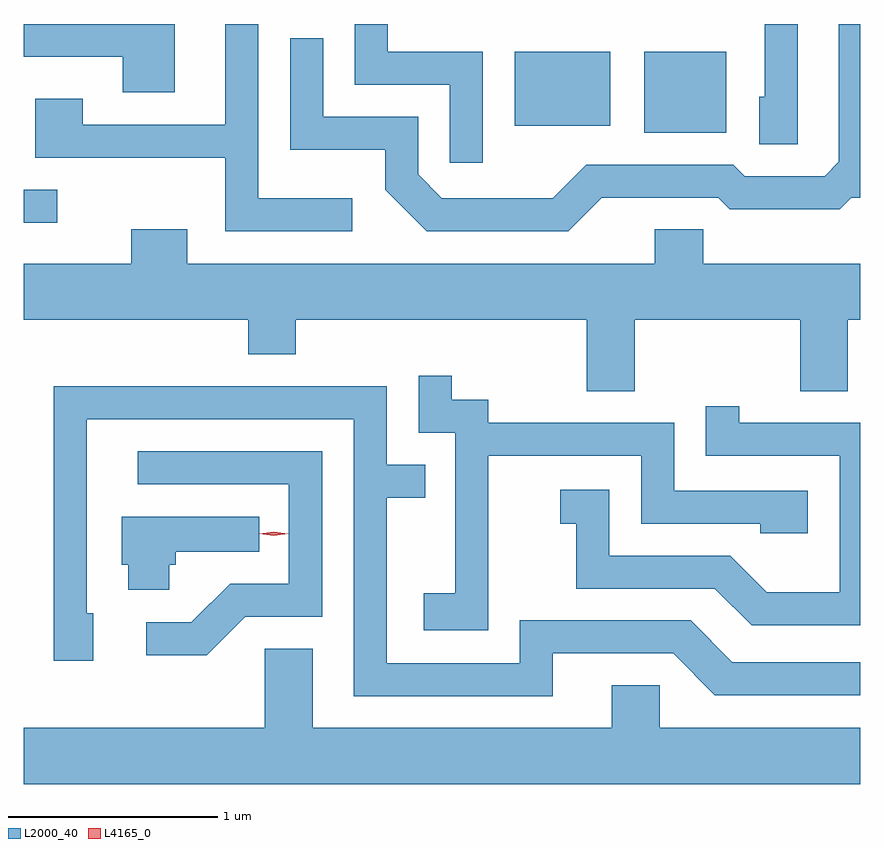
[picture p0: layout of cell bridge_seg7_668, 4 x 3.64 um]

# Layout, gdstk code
import gdstk
lib = gdstk.Library(unit=1e-6, precision=1e-09)
def R(c, l, rs):  # rectangles x0, y0, x1, y1
    for r in rs: c.add(gdstk.rectangle(r[:2], r[2:], *l))
def P(c, l, *ps):  # polygons
    for p in ps: c.add(gdstk.Polygon(p, *l))
L2000_40 = (2000, 40)
L4165_0 = (4165, 0)

bridge_seg7_668 = lib.new_cell('bridge_seg7_668')
R(bridge_seg7_668, L2000_40, [(960.718,1697.021,960.878,1697.179), (963.686,1697.451,964.079,1697.839), (963.066,1697.486,963.524,1697.839)])
P(bridge_seg7_668, L2000_40, [(964.419,1697.972),(964.261,1697.972),(964.261,1697.624),(964.236,1697.624),(964.236,1697.396),(964.419,1697.396)],
  [(962.914,1697.839),(962.459,1697.839),(962.459,1697.972),(962.301,1697.972),(962.301,1697.681),(962.756,1697.681),(962.756,1697.308),(962.914,1697.308)],
  [(961.439,1697.972),(960.718,1697.972),(960.718,1697.816),(961.191,1697.816),(961.191,1697.646),(961.439,1697.646)],
  [(962.288,1697.139),(961.839,1697.139),(961.839,1697.972),(961.681,1697.972),(961.681,1697.489),(960.999,1697.489),(960.999,1697.614),(960.771,1697.614),(960.771,1697.331),(961.681,1697.331),(961.681,1696.981),(962.288,1696.981)],
  [(963.482,1697.141),(964.039,1697.141),(964.094,1697.086),(964.622,1697.086),(964.677,1697.141),(964.718,1697.141),(964.718,1697.972),(964.616,1697.972),(964.616,1697.312),(964.549,1697.244),(964.167,1697.244),(964.112,1697.299),(963.409,1697.299),(963.249,1697.139),(962.717,1697.139),(962.604,1697.252),(962.604,1697.529),(962.149,1697.529),(962.149,1697.903),(961.991,1697.903),(961.991,1697.371),(962.446,1697.371),(962.446,1697.179),(962.644,1696.981),(963.322,1696.981)],
  [(963.639,1696.556),(964.431,1696.556),(964.431,1696.216),(964.659,1696.216),(964.659,1696.556),(964.718,1696.556),(964.718,1696.824),(963.969,1696.824),(963.969,1696.989),(963.736,1696.989),(963.736,1696.824),(961.499,1696.824),(961.499,1696.989),(961.231,1696.989),(961.231,1696.824),(960.718,1696.824),(960.718,1696.556),(961.791,1696.556),(961.791,1696.391),(962.019,1696.391),(962.019,1696.556),(963.411,1696.556),(963.411,1696.216),(963.639,1696.216)],
  [(962.939,1695.906),(963.671,1695.906),(963.671,1695.581),(964.241,1695.581),(964.241,1695.536),(964.469,1695.536),(964.469,1695.739),(963.829,1695.739),(963.829,1696.064),(962.939,1696.064),(962.939,1696.174),(962.764,1696.174),(962.764,1696.288),(962.606,1696.288),(962.606,1696.016),(962.781,1696.016),(962.781,1695.249),(962.631,1695.249),(962.631,1695.071),(962.939,1695.071)],
  [(963.249,1694.961),(963.824,1694.961),(964.024,1694.761),(964.718,1694.761),(964.718,1694.919),(964.107,1694.919),(963.907,1695.119),(963.091,1695.119),(963.091,1694.914),(962.454,1694.914),(962.454,1695.706),(962.638,1695.706),(962.638,1695.864),(962.454,1695.864),(962.454,1696.239),(960.861,1696.239),(960.861,1694.926),(961.049,1694.926),(961.049,1695.154),(961.019,1695.154),(961.019,1696.081),(962.296,1696.081),(962.296,1694.756),(963.249,1694.756)],
  [(964.718,1696.064),(964.139,1696.064),(964.139,1696.143),(963.981,1696.143),(963.981,1695.906),(964.621,1695.906),(964.621,1695.254),(964.272,1695.254),(964.097,1695.429),(963.519,1695.429),(963.519,1695.744),(963.283,1695.744),(963.283,1695.581),(963.361,1695.581),(963.361,1695.271),(964.024,1695.271),(964.199,1695.096),(964.718,1695.096)],
  [(961.777,1695.136),(962.144,1695.136),(962.144,1695.929),(961.263,1695.929),(961.263,1695.771),(961.986,1695.771),(961.986,1695.294),(961.704,1695.294),(961.519,1695.109),(961.303,1695.109),(961.303,1694.951),(961.592,1694.951)],
  [(961.414,1695.386),(961.444,1695.386),(961.444,1695.446),(961.843,1695.446),(961.843,1695.614),(961.186,1695.614),(961.186,1695.386),(961.216,1695.386),(961.216,1695.266),(961.414,1695.266)],
  [(964.718,1694.604),(963.759,1694.604),(963.759,1694.809),(963.531,1694.809),(963.531,1694.604),(962.099,1694.604),(962.099,1694.984),(961.871,1694.984),(961.871,1694.604),(960.718,1694.604),(960.718,1694.336),(964.718,1694.336)])
P(bridge_seg7_668, L4165_0, [(961.914,1695.524),(961.844,1695.533),(961.844,1695.534),(961.844,1695.534),(961.914,1695.544),(961.983,1695.534),(961.983,1695.534),(961.983,1695.533)],
  [(961.914,1695.524),(961.847,1695.533),(961.847,1695.534),(961.847,1695.534),(961.914,1695.544),(961.98,1695.534),(961.981,1695.534),(961.98,1695.533)])

lib.write_gds('bridge_seg7_668.gds')
